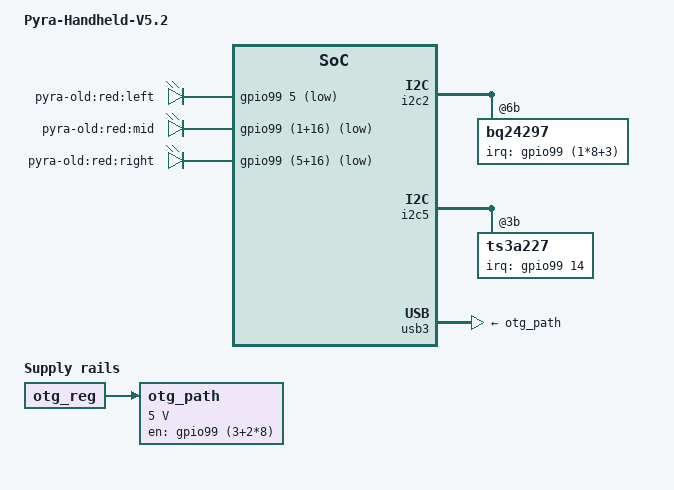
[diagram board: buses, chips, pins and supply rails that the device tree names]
// SPDX-License-Identifier: GPL-2.0-or-later
/*
 * Copyright (C) 2017 OpenPandora - http://www.pyra-handheld.com/
 *
 * This program is free software; you can redistribute it and/or modify
 * it under the terms of the GNU General Public License version 2 as
 * published by the Free Software Foundation.
 */

#include "pyra-mainboard-common.dtsi"

/ {
	model = "Pyra-Handheld-V5.2";

	pyra_leds { /* alternate LED driver (parallel to is31fl31) */
		compatible = "gpio-leds";
		led@1 {
			label = "pyra-old:red:left";
			gpios = <&gpio99 5 (GPIO_ACTIVE_LOW | GPIO_OPEN_DRAIN)>;
			linux,default-trigger = "none";
			default-state = "off";
		};

		led@4 {
			label = "pyra-old:red:mid";
			gpios = <&gpio99 (1+16) (GPIO_ACTIVE_LOW | GPIO_OPEN_DRAIN)>;
			linux,default-trigger = "none";
			default-state = "off";
		};

		led@7 {
			label = "pyra-old:red:right";
			gpios = <&gpio99 (5+16) (GPIO_ACTIVE_LOW | GPIO_OPEN_DRAIN)>;
			linux,default-trigger = "none";
			default-state = "off";
		};
	};

	/* this is a power switch that connects otg power from bq2429x to the usb socket */
	otg_path: otg_path {
		compatible = "regulator-fixed";
		regulator-name = "otg_path";
		regulator-min-microvolt = <5000000>;
		regulator-max-microvolt = <5000000>;
		/* does not handle "gpios" property! */
		gpio = <&gpio99 (3+2*8) (GPIO_ACTIVE_HIGH)>;	/* P23 of pcal6524 */
		enable-active-high;
		vin-supply = <&otg_reg>;	/* request otg booster of bq24297 */
	};
};

&gpio99 {
	/* replace ti,tca6424 in older revisions */
	compatible = "nxp,pcal6524";
	interrupt-parent = <&gpio6>;
	interrupts = <1 IRQ_TYPE_EDGE_FALLING>;	/* gpio6_161 */
};

&i2c2 {
	bq24297@6b {
		/* interrupts now working with pcal6524 */
		interrupt-parent = <&gpio99>;
		interrupts = <(1*8+3) IRQ_TYPE_EDGE_FALLING>;	/* P13 */
	};
};

&i2c5 {
	ts3a227@3b {
		/* interrupts now working with pcal6524 */
                interrupt-parent = <&gpio99>;
		interrupts = <14 IRQ_TYPE_EDGE_RISING>;
	};
};

&usb3 {
	/* use otg_path regulator */
	vbus-supply = <&otg_path>;
};
